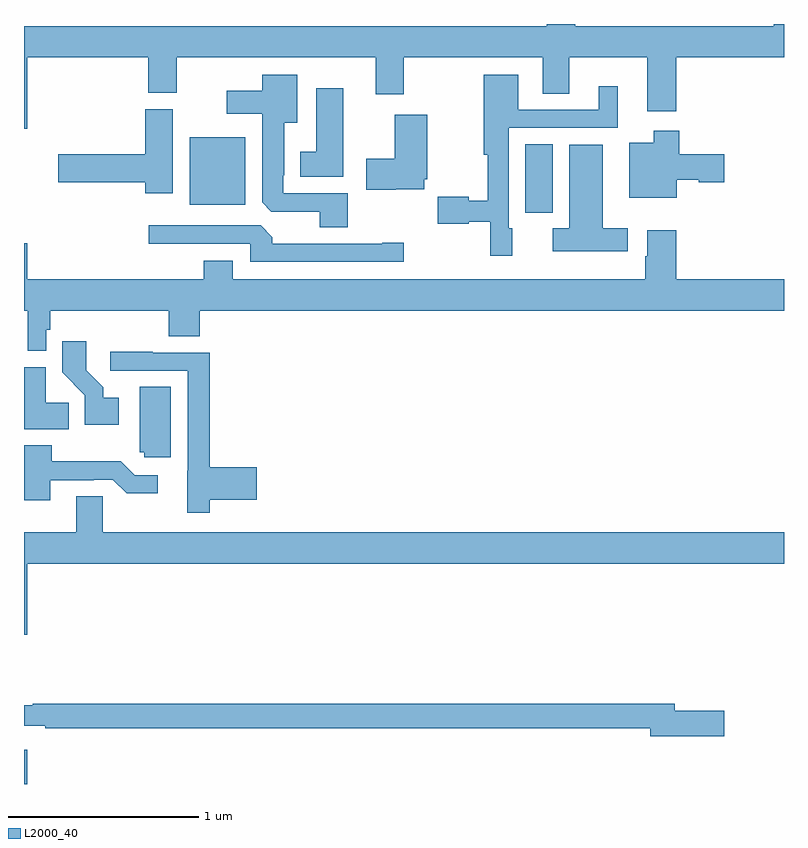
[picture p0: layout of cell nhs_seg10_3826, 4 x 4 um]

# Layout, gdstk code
import gdstk
lib = gdstk.Library(unit=1e-6, precision=1e-09)
def R(c, l, rs):  # rectangles x0, y0, x1, y1
    for r in rs: c.add(gdstk.rectangle(r[:2], r[2:], *l))
def P(c, l, *ps):  # polygons
    for p in ps: c.add(gdstk.Polygon(p, *l))
L2000_40 = (2000, 40)

nhs_seg10_3826 = lib.new_cell('nhs_seg10_3826')
R(nhs_seg10_3826, L2000_40, [(321,1288.5,321.016,1288.681), (323.639,1291.507,323.782,1291.868), (321.872,1291.55,322.165,1291.903)])
P(nhs_seg10_3826, L2000_40, [(321.016,1292.324),(321.653,1292.324),(321.653,1292.137),(321.805,1292.137),(321.805,1292.324),(322.85,1292.324),(322.85,1292.13),(322.998,1292.13),(322.998,1292.324),(323.729,1292.324),(323.729,1292.134),(323.869,1292.134),(323.869,1292.324),(324.281,1292.324),(324.281,1292.04),(324.434,1292.04),(324.434,1292.324),(325,1292.324),(325,1292.5),(324.947,1292.5),(324.947,1292.488),(323.902,1292.488),(323.902,1292.5),(323.75,1292.5),(323.75,1292.488),(321,1292.488),(321,1291.95),(321.016,1291.95)],
  [(322.704,1291.608),(322.365,1291.608),(322.365,1291.705),(322.369,1291.705),(322.369,1291.979),(322.438,1291.979),(322.438,1292.233),(322.253,1292.233),(322.253,1292.149),(322.068,1292.149),(322.068,1292.027),(322.253,1292.027),(322.253,1291.561),(322.302,1291.512),(322.556,1291.512),(322.556,1291.429),(322.704,1291.429)],
  [(323.569,1291.425),(323.55,1291.425),(323.55,1291.953),(324.124,1291.953),(324.124,1292.173),(324.026,1292.173),(324.026,1292.049),(323.602,1292.049),(323.602,1292.233),(323.42,1292.233),(323.42,1291.811),(323.442,1291.811),(323.442,1291.569),(323.34,1291.569),(323.34,1291.592),(323.178,1291.592),(323.178,1291.45),(323.34,1291.45),(323.34,1291.458),(323.454,1291.458),(323.454,1291.281),(323.569,1291.281)],
  [(322.681,1292.161),(322.538,1292.161),(322.538,1291.828),(322.454,1291.828),(322.454,1291.697),(322.681,1291.697)],
  [(321.784,1292.052),(321.638,1292.052),(321.638,1291.814),(321.18,1291.814),(321.18,1291.667),(321.638,1291.667),(321.638,1291.608),(321.784,1291.608)],
  [(322.956,1291.629),(323.106,1291.629),(323.106,1291.683),(323.122,1291.683),(323.122,1292.023),(322.952,1292.023),(322.952,1291.791),(322.8,1291.791),(322.8,1291.628),(322.956,1291.628)],
  [(324.436,1291.679),(324.552,1291.679),(324.552,1291.667),(324.685,1291.667),(324.685,1291.814),(324.449,1291.814),(324.449,1291.939),(324.314,1291.939),(324.314,1291.876),(324.185,1291.876),(324.185,1291.586),(324.436,1291.586)],
  [(324.178,1291.426),(324.046,1291.426),(324.046,1291.864),(323.87,1291.864),(323.87,1291.426),(323.782,1291.426),(323.782,1291.304),(324.178,1291.304)],
  [(322.999,1291.349),(322.886,1291.349),(322.886,1291.344),(322.307,1291.344),(322.307,1291.378),(322.245,1291.44),(321.657,1291.44),(321.657,1291.344),(322.191,1291.344),(322.191,1291.248),(322.999,1291.248)],
  [(321.117,1290.891),(321.137,1290.891),(321.137,1290.992),(321.761,1290.992),(321.761,1290.856),(321.926,1290.856),(321.926,1290.992),(325,1290.992),(325,1291.156),(324.434,1291.156),(324.434,1291.414),(324.281,1291.414),(324.281,1291.277),(324.269,1291.277),(324.269,1291.156),(322.099,1291.156),(322.099,1291.255),(321.947,1291.255),(321.947,1291.156),(321.016,1291.156),(321.016,1291.345),(321,1291.345),(321,1290.992),(321.021,1290.992),(321.021,1290.779),(321.117,1290.779)],
  [(321.499,1290.532),(321.418,1290.532),(321.418,1290.587),(321.328,1290.677),(321.328,1290.829),(321.202,1290.829),(321.202,1290.666),(321.321,1290.547),(321.321,1290.392),(321.499,1290.392)],
  [(321.977,1289.996),(322.225,1289.996),(322.225,1290.167),(321.977,1290.167),(321.977,1290.771),(321.677,1290.771),(321.677,1290.774),(321.453,1290.774),(321.453,1290.675),(321.861,1290.675),(321.861,1290.15),(321.86,1290.15),(321.86,1289.928),(321.977,1289.928)],
  [(321.236,1290.506),(321.115,1290.506),(321.115,1290.694),(321,1290.694),(321,1290.368),(321.236,1290.368)],
  [(321.772,1290.59),(321.608,1290.59),(321.608,1290.246),(321.633,1290.246),(321.633,1290.219),(321.772,1290.219)],
  [(321.139,1290.099),(321.368,1290.099),(321.368,1290.102),(321.468,1290.102),(321.541,1290.029),(321.703,1290.029),(321.703,1290.126),(321.582,1290.126),(321.509,1290.199),(321.147,1290.199),(321.147,1290.283),(321,1290.283),(321,1289.994),(321.139,1289.994)],
  [(321.016,1289.66),(325,1289.66),(325,1289.824),(321.414,1289.824),(321.414,1290.014),(321.275,1290.014),(321.275,1289.824),(321,1289.824),(321,1289.286),(321.016,1289.286)],
  [(324.685,1288.886),(324.424,1288.886),(324.424,1288.922),(321.046,1288.922),(321.046,1288.915),(321,1288.915),(321,1288.806),(321.112,1288.806),(321.112,1288.794),(324.296,1288.794),(324.296,1288.751),(324.685,1288.751)])

lib.write_gds('nhs_seg10_3826.gds')
